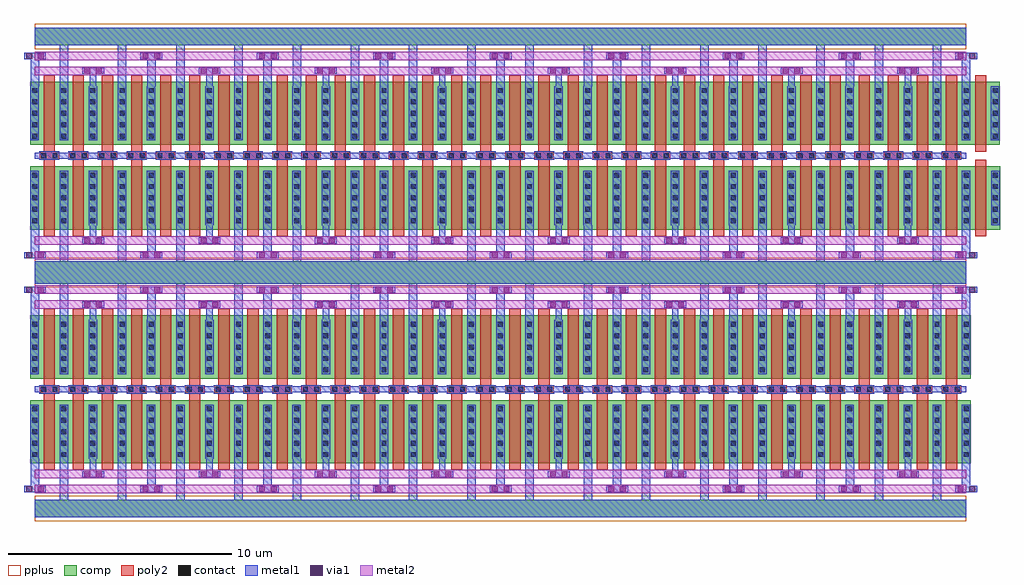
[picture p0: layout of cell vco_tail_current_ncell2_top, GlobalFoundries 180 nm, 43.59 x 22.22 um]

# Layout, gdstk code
import gdstk
lib = gdstk.Library(unit=1e-6, precision=5e-09)
def R(c, l, rs):  # rectangles x0, y0, x1, y1
    for r in rs: c.add(gdstk.rectangle(r[:2], r[2:], *l))
def A(c, l, x, y, w, h, nx, ny, dx, dy):  # array of equal rectangles
    R(c, l, [(x+i*dx, y+j*dy, x+i*dx+w, y+j*dy+h) for i in range(nx) for j in range(ny)])
comp = (22, 0)
poly2 = (30, 0)
pplus = (31, 0)
contact = (33, 0)
metal1 = (34, 0)
via1 = (35, 0)
metal2 = (36, 0)

vco_tail_current_ncell2_ = lib.new_cell('vco_tail_current_ncell2_1$1$1')
R(vco_tail_current_ncell2_, comp, [(0,0.3,0.42,3.12), (0.42,0.3,1.3,3.12), (1.3,0.3,1.72,3.12)])
R(vco_tail_current_ncell2_, poly2, [(0.61,0,1.11,3.42)])
A(vco_tail_current_ncell2_, contact, 0.1, 0.58, 0.22, 0.22, 1, 5, 0, 0.51)
A(vco_tail_current_ncell2_, contact, 1.4, 0.58, 0.22, 0.22, 1, 5, 0, 0.51)
R(vco_tail_current_ncell2_, metal1, [(0.02,0.5,0.4,2.92), (1.32,0.5,1.7,2.92)])

c_vco_tail_current_ncell2_ = lib.new_cell('vco_tail_current_ncell2_4$1')
A(c_vco_tail_current_ncell2_, poly2, 0.425, 3.42, 0.87, 0.36, 4, 1, 1.3, 0)
R(c_vco_tail_current_ncell2_, contact, [(0.495,3.49,0.715,3.71), (1.005,3.49,1.225,3.71), (1.795,3.49,2.015,3.71), (2.305,3.49,2.525,3.71), (3.095,3.49,3.315,3.71), (3.605,3.49,3.825,3.71), (4.395,3.49,4.615,3.71), (4.905,3.49,5.125,3.71)])
A(c_vco_tail_current_ncell2_, metal1, 0.415, 3.41, 0.89, 0.38, 4, 1, 1.3, 0)
c_vco_tail_current_ncell2_.add(gdstk.Reference(vco_tail_current_ncell2_, (0,0)))
c_vco_tail_current_ncell2_.add(gdstk.Reference(vco_tail_current_ncell2_, (1.3,0)))
c_vco_tail_current_ncell2_.add(gdstk.Reference(vco_tail_current_ncell2_, (2.6,0)))
c_vco_tail_current_ncell2_.add(gdstk.Reference(vco_tail_current_ncell2_, (3.9,0)))

c_vco_tail_current_ncell2__ = lib.new_cell('vco_tail_current_ncell2_4_4')
R(c_vco_tail_current_ncell2__, via1, [(0.1,1.31,0.36,1.57), (0.62,1.31,0.88,1.57), (5.3,1.31,5.56,1.57), (5.82,1.31,6.08,1.57), (2.695,1.97,2.955,2.23), (3.215,1.97,3.475,2.23), (2.695,9.55,2.955,9.81), (3.215,9.55,3.475,9.81), (0.1,10.21,0.36,10.47), (0.62,10.21,0.88,10.47), (5.3,10.21,5.56,10.47), (5.82,10.21,6.08,10.47)])
c_vco_tail_current_ncell2__.add(gdstk.FlexPath([(0.485,2.79),(0.485,1.58)], 0.38, ends="flush", simple_path=True, layer=34, datatype=0))  # metal1
c_vco_tail_current_ncell2__.add(gdstk.FlexPath([(5.685,2.79),(5.685,1.58)], 0.38, ends="flush", simple_path=True, layer=34, datatype=0))  # metal1
c_vco_tail_current_ncell2__.add(gdstk.FlexPath([(5.68,5.89),(0.48,5.89)], 0.28, ends="flush", simple_path=True, layer=34, datatype=0))  # metal1
c_vco_tail_current_ncell2__.add(gdstk.FlexPath([(0.485,0.57),(5.685,0.57)], 0.8, ends="flush", simple_path=True, layer=34, datatype=0))  # metal1
c_vco_tail_current_ncell2__.add(gdstk.FlexPath([(1.785,2.79),(1.785,0.97)], 0.38, ends="flush", simple_path=True, layer=34, datatype=0))  # metal1
c_vco_tail_current_ncell2__.add(gdstk.FlexPath([(4.385,2.79),(4.385,0.97)], 0.38, ends="flush", simple_path=True, layer=34, datatype=0))  # metal1
c_vco_tail_current_ncell2__.add(gdstk.FlexPath([(2.595,2.1),(3.575,2.1)], 0.28, ends="flush", simple_path=True, layer=34, datatype=0))  # metal1
c_vco_tail_current_ncell2__.add(gdstk.FlexPath([(3.085,2.79),(3.085,2.24)], 0.28, ends="flush", simple_path=True, layer=34, datatype=0))  # metal1
c_vco_tail_current_ncell2__.add(gdstk.FlexPath([(0,1.44),(0.98,1.44)], 0.28, ends="flush", simple_path=True, layer=34, datatype=0))  # metal1
c_vco_tail_current_ncell2__.add(gdstk.FlexPath([(5.2,1.44),(6.18,1.44)], 0.28, ends="flush", simple_path=True, layer=34, datatype=0))  # metal1
c_vco_tail_current_ncell2__.add(gdstk.FlexPath([(0.485,8.99),(0.485,10.2)], 0.38, ends="flush", simple_path=True, layer=34, datatype=0))  # metal1
c_vco_tail_current_ncell2__.add(gdstk.FlexPath([(5.685,8.99),(5.685,10.2)], 0.38, ends="flush", simple_path=True, layer=34, datatype=0))  # metal1
c_vco_tail_current_ncell2__.add(gdstk.FlexPath([(0.485,11.21),(5.685,11.21)], 0.8, ends="flush", simple_path=True, layer=34, datatype=0))  # metal1
c_vco_tail_current_ncell2__.add(gdstk.FlexPath([(1.785,10.81),(1.785,8.99)], 0.38, ends="flush", simple_path=True, layer=34, datatype=0))  # metal1
c_vco_tail_current_ncell2__.add(gdstk.FlexPath([(4.385,10.81),(4.385,8.99)], 0.38, ends="flush", simple_path=True, layer=34, datatype=0))  # metal1
c_vco_tail_current_ncell2__.add(gdstk.FlexPath([(2.595,9.68),(3.575,9.68)], 0.28, ends="flush", simple_path=True, layer=34, datatype=0))  # metal1
c_vco_tail_current_ncell2__.add(gdstk.FlexPath([(3.085,8.99),(3.085,9.54)], 0.28, ends="flush", simple_path=True, layer=34, datatype=0))  # metal1
c_vco_tail_current_ncell2__.add(gdstk.FlexPath([(0,10.34),(0.98,10.34)], 0.28, ends="flush", simple_path=True, layer=34, datatype=0))  # metal1
c_vco_tail_current_ncell2__.add(gdstk.FlexPath([(5.2,10.34),(6.18,10.34)], 0.28, ends="flush", simple_path=True, layer=34, datatype=0))  # metal1
c_vco_tail_current_ncell2__.add(gdstk.FlexPath([(0.485,0.57),(5.685,0.57)], 0.8, ends="flush", simple_path=True, layer=22, datatype=0))  # comp
c_vco_tail_current_ncell2__.add(gdstk.FlexPath([(0.485,11.21),(5.685,11.21)], 0.8, ends="flush", simple_path=True, layer=22, datatype=0))  # comp
c_vco_tail_current_ncell2__.add(gdstk.FlexPath([(0.485,2.1),(5.685,2.1)], 0.38, ends="flush", simple_path=True, layer=36, datatype=0))  # metal2
c_vco_tail_current_ncell2__.add(gdstk.FlexPath([(0.485,1.44),(5.685,1.44)], 0.38, ends="flush", simple_path=True, layer=36, datatype=0))  # metal2
c_vco_tail_current_ncell2__.add(gdstk.FlexPath([(0.485,9.68),(5.685,9.68)], 0.38, ends="flush", simple_path=True, layer=36, datatype=0))  # metal2
c_vco_tail_current_ncell2__.add(gdstk.FlexPath([(0.485,10.34),(5.685,10.34)], 0.38, ends="flush", simple_path=True, layer=36, datatype=0))  # metal2
c_vco_tail_current_ncell2__.add(gdstk.FlexPath([(0.485,0.57),(5.685,0.57)], 1.14, ends="flush", simple_path=True, layer=31, datatype=0))  # pplus
c_vco_tail_current_ncell2__.add(gdstk.FlexPath([(0.485,11.21),(5.685,11.21)], 1.14, ends="flush", simple_path=True, layer=31, datatype=0))  # pplus
c_vco_tail_current_ncell2__.add(gdstk.Reference(c_vco_tail_current_ncell2_, (0.27,2.29)))
c_vco_tail_current_ncell2__.add(gdstk.Reference(c_vco_tail_current_ncell2_, (0.27,9.49), x_reflection=True))

c_vco_tail_current_ncell2___ = lib.new_cell('vco_tail_current_ncell2_1')
R(c_vco_tail_current_ncell2___, comp, [(0,0.3,0.42,3.12), (0.42,0.3,1.3,3.12), (1.3,0.3,1.72,3.12)])
R(c_vco_tail_current_ncell2___, poly2, [(0.61,0,1.11,3.42)])
A(c_vco_tail_current_ncell2___, contact, 0.1, 0.58, 0.22, 0.22, 1, 5, 0, 0.51)
A(c_vco_tail_current_ncell2___, contact, 1.4, 0.58, 0.22, 0.22, 1, 5, 0, 0.51)
R(c_vco_tail_current_ncell2___, metal1, [(0.02,0.5,0.4,2.92), (1.32,0.5,1.7,2.92)])

c_vco_tail_current_ncell2____ = lib.new_cell('vco_tail_current_ncell2_top')
c_vco_tail_current_ncell2____.add(gdstk.Reference(c_vco_tail_current_ncell2__, (0,10.44)))
c_vco_tail_current_ncell2____.add(gdstk.Reference(c_vco_tail_current_ncell2__, (5.2,10.44)))
c_vco_tail_current_ncell2____.add(gdstk.Reference(c_vco_tail_current_ncell2__, (10.4,10.44)))
c_vco_tail_current_ncell2____.add(gdstk.Reference(c_vco_tail_current_ncell2__, (15.6,10.44)))
c_vco_tail_current_ncell2____.add(gdstk.Reference(c_vco_tail_current_ncell2__, (20.8,10.44)))
c_vco_tail_current_ncell2____.add(gdstk.Reference(c_vco_tail_current_ncell2__, (26,10.44)))
c_vco_tail_current_ncell2____.add(gdstk.Reference(c_vco_tail_current_ncell2__, (31.2,10.44)))
c_vco_tail_current_ncell2____.add(gdstk.Reference(c_vco_tail_current_ncell2__, (36.4,10.44)))
c_vco_tail_current_ncell2____.add(gdstk.Reference(c_vco_tail_current_ncell2__, (0,0)))
c_vco_tail_current_ncell2____.add(gdstk.Reference(c_vco_tail_current_ncell2__, (5.2,0)))
c_vco_tail_current_ncell2____.add(gdstk.Reference(c_vco_tail_current_ncell2__, (10.4,0)))
c_vco_tail_current_ncell2____.add(gdstk.Reference(c_vco_tail_current_ncell2__, (15.6,0)))
c_vco_tail_current_ncell2____.add(gdstk.Reference(c_vco_tail_current_ncell2__, (20.8,0)))
c_vco_tail_current_ncell2____.add(gdstk.Reference(c_vco_tail_current_ncell2__, (26,0)))
c_vco_tail_current_ncell2____.add(gdstk.Reference(c_vco_tail_current_ncell2__, (31.2,0)))
c_vco_tail_current_ncell2____.add(gdstk.Reference(c_vco_tail_current_ncell2__, (36.4,0)))
c_vco_tail_current_ncell2____.add(gdstk.Reference(c_vco_tail_current_ncell2___, (41.87,16.51)))
c_vco_tail_current_ncell2____.add(gdstk.Reference(c_vco_tail_current_ncell2___, (41.875,12.73)))

lib.write_gds('vco_tail_current_ncell2_top.gds')
